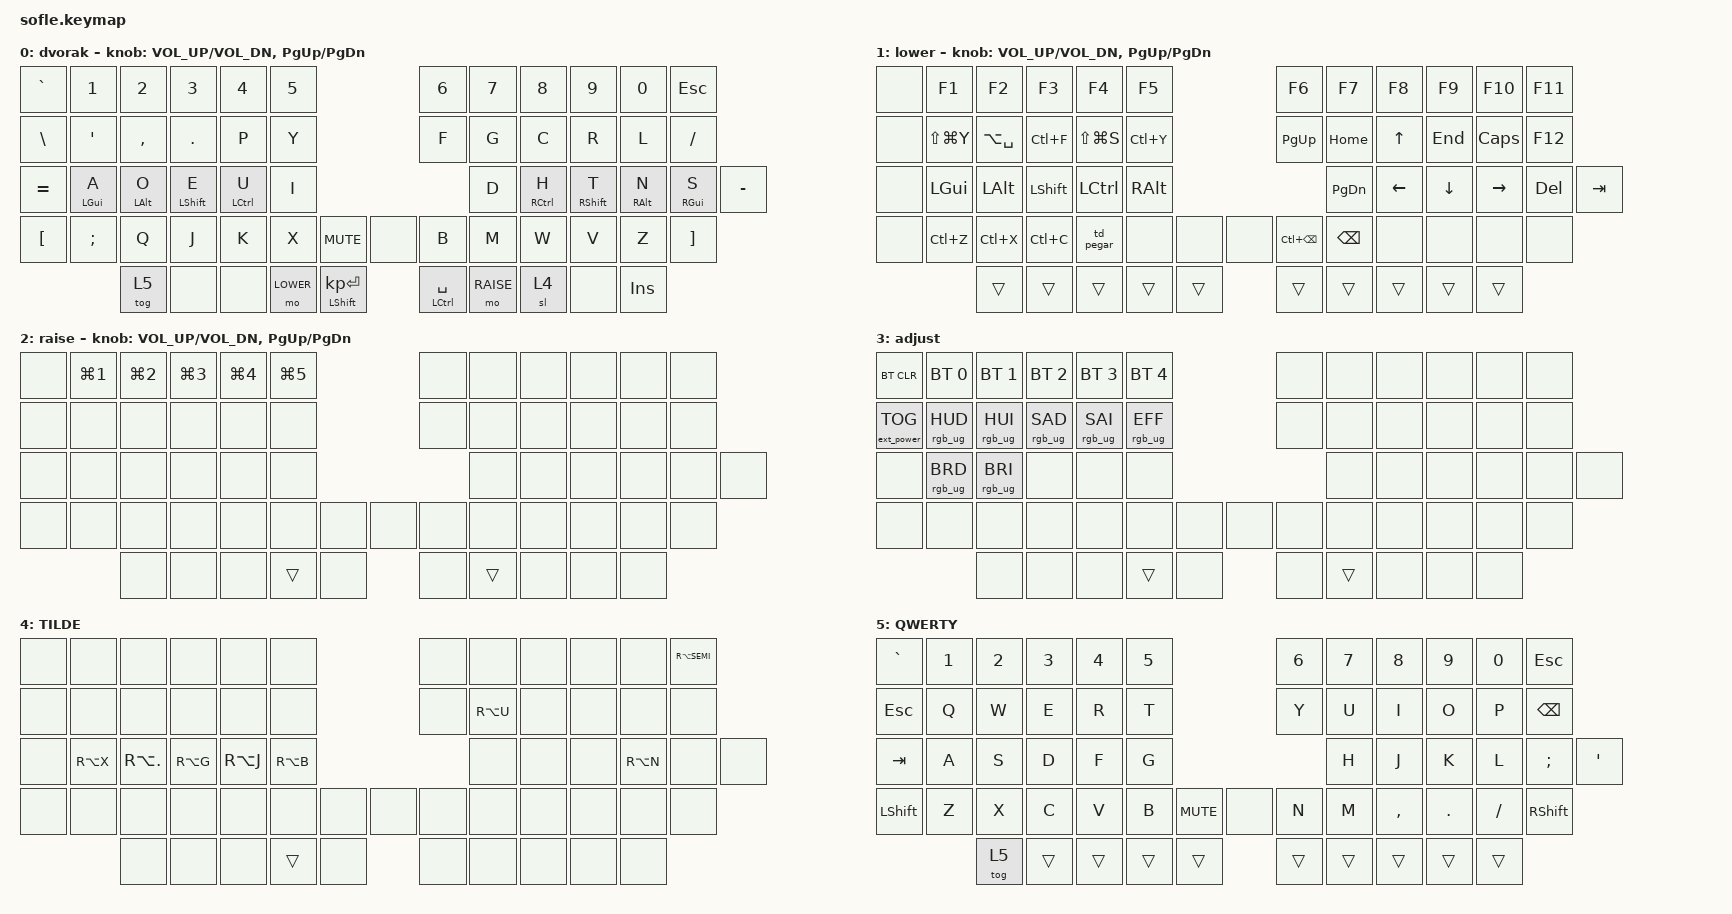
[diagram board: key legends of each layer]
/*
 * Copyright (c) 2020 The ZMK Contributors
 *
 * SPDX-License-Identifier: MIT
 */

#include <behaviors.dtsi>
#include <dt-bindings/zmk/bt.h>
#include <dt-bindings/zmk/ext_power.h>
#include <dt-bindings/zmk/keys.h>
#include <dt-bindings/zmk/rgb.h>

#define BASE 0
#define LOWER 1
#define RAISE 2
#define ADJUST 3

/ {
    // Activate ADJUST layer by pressing raise and lower

    conditional_layers {
        compatible = "zmk,conditional-layers";

        adjust_layer {
            if-layers = <1 2>;
            then-layer = <3>;
        };
    };
    

    behaviors {
        hold_tap: hold_tap {
            compatible = "zmk,behavior-hold-tap";
            label = "HOLD_TAP";
            bindings = <&kp>, <&kp>;

            #binding-cells = <2>;
            tapping-term-ms = <120>;
            flavor = "tap-preferred";
            retro-tap;
            quick-tap-ms = <200>;
        };

        htl: htl {
            compatible = "zmk,behavior-hold-tap";
            label = "HTL";
            bindings = <&kp>, <&kp>;

            #binding-cells = <2>;
            tapping-term-ms = <200>;
            flavor = "tap-preferred";
            retro-tap;
            quick-tap-ms = <200>;
        };
        
        ht_gui: ht_gui {
            compatible = "zmk,behavior-hold-tap";
            label = "HT_GUI";
            bindings = <&kp>, <&kp>;

            #binding-cells = <2>;
            tapping-term-ms = <180>;
            flavor = "tap-preferred";
            retro-tap;
            quick-tap-ms = <200>;
        };
        

        td_pegar: tap_dance_pegar {
            compatible = "zmk,behavior-tap-dance";
            #binding-cells = <0>;
            tapping-term-ms = <200>;
            bindings = <&kp LC(V)>, <&kp LG(V)>;
        };
    };

    keymap {
        compatible = "zmk,keymap";

        default_layer {
            display-name = "dvorak";

            bindings = <
&kp GRAVE  &kp N1    &kp N2     &kp N3   &kp N4    &kp N5                                    &kp N6 &kp N7       &kp N8             &kp N9           &kp N0              &kp ESC
&kp BSLH   &kp APOS  &kp COMMA  &kp DOT  &kp P     &kp Y                                     &kp F  &kp G        &kp C              &kp R            &kp L               &kp SLASH
&kp EQUAL  &ht_gui LEFT_GUI A  &htl LEFT_ALT O &hold_tap LEFT_SHIFT E &htl LCTRL U   &kp I   &kp D  &htl RCTRL H &hold_tap RSHIFT T &htl RIGHT_ALT N &ht_gui RIGHT_GUI S &kp MINUS
&kp LBKT   &kp SEMI  &kp Q      &kp J    &kp K     &kp X   &kp C_MUTE        &none           &kp B  &kp M        &kp W              &kp V            &kp Z               &kp RBKT
                     &tog 5   &none    &none  &mo LOWER   &mt LSHIFT KP_ENTER         &mt LCTRL SPACE  &mo RAISE   &sl 4      &none   &kp INS
            >;

            sensor-bindings = <&inc_dec_kp C_VOL_UP C_VOL_DN &inc_dec_kp PG_UP PG_DN>;
        };

        lower_layer {
            display-name = "lower";
            
            bindings = <
&none  &kp F1         &kp F2         &kp F3     &kp F4         &kp F5                       &kp F6         &kp F7    &kp F8    &kp F9     &kp F10   &kp F11
&none  &kp LS(LG(Y))  &kp LA(SPACE)  &kp LC(F)  &kp LS(LG(S))  &kp LC(Y)                    &kp PG_UP      &kp HOME  &kp UP    &kp END    &kp CAPS  &kp F12
&none  &kp LEFT_GUI   &kp LEFT_ALT   &kp LSHFT  &kp LCTRL      &kp RALT                     &kp PAGE_DOWN  &kp LEFT  &kp DOWN  &kp RIGHT  &kp DEL   &kp TAB
&none  &kp LC(Z)      &kp LC(X)      &kp LC(C)  &td_pegar      &none      &none     &none   &kp LC(BSPC)   &kp BSPC  &none     &none      &none     &none
                      &trans         &trans     &trans         &trans     &trans    &trans  &trans         &trans    &trans    &trans
            >;

            sensor-bindings = <&inc_dec_kp C_VOL_UP C_VOL_DN &inc_dec_kp PG_UP PG_DN>;
        };

        raise_layer {
            display-name = "raise";

            bindings = <
&none  &kp LG(N1)  &kp LG(NUMBER_2)  &kp LG(NUMBER_3)  &kp LG(NUMBER_4)  &kp LG(NUMBER_5)                  &none   &none  &none  &none  &none  &none
&none  &none       &none             &none             &none             &none                             &none   &none  &none  &none  &none  &none
&none  &none       &none             &none             &none             &none                             &none   &none  &none  &none  &none  &none
&none  &none       &none             &none             &none             &none             &none    &none  &none   &none  &none  &none  &none  &none
                   &none             &none             &none             &trans            &none    &none  &trans  &none  &none  &none
            >;

            sensor-bindings = <&inc_dec_kp C_VOL_UP C_VOL_DN &inc_dec_kp PG_UP PG_DN>;
        };

        adjust_layer {
            
            display-name = "adjust";
            bindings = <
&bt BT_CLR         &bt BT_SEL 0     &bt BT_SEL 1     &bt BT_SEL 2     &bt BT_SEL 3     &bt BT_SEL 4                               &none   &none  &none  &none  &none  &none
&ext_power EP_TOG  &rgb_ug RGB_HUD  &rgb_ug RGB_HUI  &rgb_ug RGB_SAD  &rgb_ug RGB_SAI  &rgb_ug RGB_EFF                            &none   &none  &none  &none  &none  &none
&none              &rgb_ug RGB_BRD  &rgb_ug RGB_BRI  &none            &none            &none                                      &none   &none  &none  &none  &none  &none
&none              &none            &none            &none            &none            &none            &none              &none  &none   &none  &none  &none  &none  &none
                                    &none            &none            &none            &trans           &none              &none  &trans  &none  &none  &none
            >;
        };

        tilde_layer {
            display-name = "TILDE";
            bindings = <
&none  &none      &none        &none      &none      &none                      &none   &none      &none  &none      &none  &kp RA(SEMI )
&none  &none      &none        &none      &none      &none                      &none   &kp RA(U)  &none  &none      &none  &none
&none  &kp RA(X)  &kp RA(DOT)  &kp RA(G)  &kp RA(J)  &kp RA(B)                  &none   &none      &none  &kp RA(N)  &none  &none
&none  &none      &none        &none      &none      &none      &none    &none  &none   &none      &none  &none      &none  &none
                  &none        &none      &none      &trans     &none    &none  &none   &none      &none  &none
            >;
        };

        qwerty_layer {
            display-name = "QWERTY";

            bindings = <
&kp GRAVE  &kp N1    &kp N2    &kp N3    &kp N4    &kp N5                              &kp N6  &kp N7  &kp N8  &kp N9  &kp N0  &kp ESC
&kp ESC    &kp Q     &kp W     &kp E     &kp R     &kp T                               &kp Y   &kp U   &kp I   &kp O   &kp P   &kp BSPC
&kp TAB    &kp A     &kp S     &kp D     &kp F     &kp G                               &kp H   &kp J   &kp K   &kp L   &kp SEMI &kp APOS
&kp LSHFT  &kp Z     &kp X     &kp C     &kp V     &kp B     &kp C_MUTE       &none   &kp N   &kp M   &kp COMMA &kp DOT &kp SLASH &kp RSHFT
                      &tog 5    &trans    &trans    &trans    &trans           &trans  &trans  &trans  &trans   &trans
            >;
        };
    };
};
